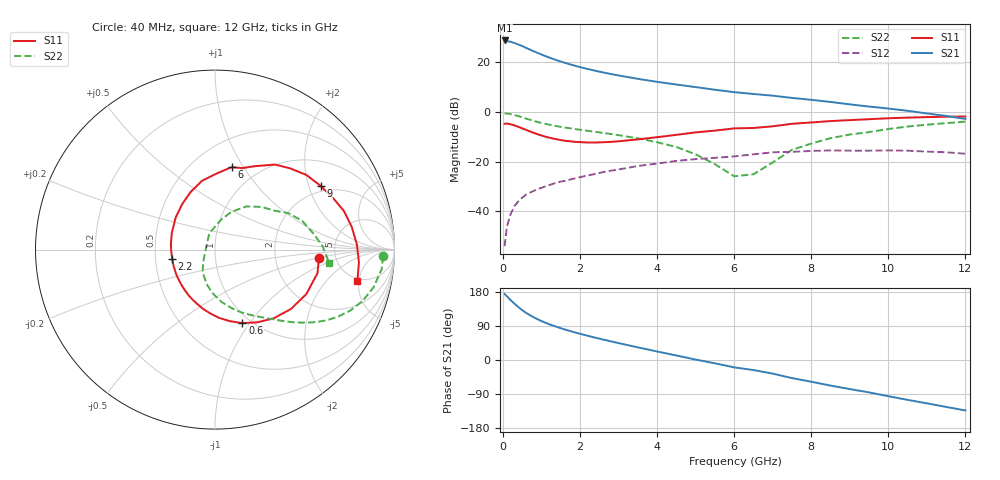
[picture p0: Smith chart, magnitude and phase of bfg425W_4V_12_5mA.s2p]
! Filename: 412bfg425.001
! BFG425W Field C1
! V1=8.355E-001V,V2=4.000E+000V, I1=1.439E-004A, I2=1.249E-002A
# GHz  S  MA  R 50
!  S11  S21  S12  S22
!Freq(GHz)  Mag  Ang  Mag  Ang  Mag  Ang  Mag  Ang
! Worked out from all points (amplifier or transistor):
!   44 points, 40 MHz to 12 GHz, reference 50 ohm
!   highest |S21| = 28.8 dB at 40 MHz (marker M1)
!   |S21| within 3 dB of that: start of sweep to 600.2 MHz
!   unconditionally stable (mu >= 1): start of sweep to 46.57 MHz; 1.688 GHz to end of sweep
!   at 700 MHz: K = 0.62, MSG = 28.8 dB, |S12| = -32.4 dB
!   at 2.4 GHz: K = 1.13, MAG = 18.6 dB, |S12| = -24.9 dB
!   at 12 GHz: K = 1.37, MAG = 3.3 dB, |S12| = -16.8 dB
!   S11 on the Smith chart (normalised r, x): 40 MHz: 3.70, -0.52; 600 MHz: 0.91, -0.92; 2.2 GHz: 0.61, -0.07; 6 GHz: 0.75, +0.89; 9 GHz: 1.80, +2.41; 12 GHz: 4.70, -4.76
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0.04  0.581 -4.6  27.57 174.1  0.002 44.3  0.937 -2.3
0.2  0.566 -26.0  25.85 157.6  0.009 70.7  0.908 -13.4
0.3  0.537 -38.0  24.39 148.2  0.013 68.1  0.87 -19.3
0.4  0.504 -49.4  22.8 139.4  0.016 65.1  0.826 -24.4
0.5  0.468 -60.1  21.17 131.1  0.019 61.8  0.78 -28.7
0.6  0.437 -69.6  19.52 124.2  0.022 59.7  0.737 -32.3
0.8  0.381 -86.6  16.66 112.4  0.026 56.2  0.662 -37.8
0.9  0.357 -94.1  15.43 107.3  0.028 54.9  0.631 -40.1
1  0.337 -101.3  14.33 102.6  0.03 53.9  0.604 -42.2
1.2  0.305 -114.4  12.48 94.4  0.034 52.2  0.557 -45.8
1.4  0.282 -126.4  11 87.2  0.038 50.9  0.519 -48.9
1.6  0.265 -138.0  9.808 80.7  0.041 49.7  0.489 -51.8
2.2  0.244 -168.1  7.341 63.9  0.053 45.4  0.419 -60.8
3  0.258 158.5  5.438 44.5  0.07 37.7  0.342 -73.6
3.5  0.282 141.2  4.658 33.3  0.082 31.9  0.296 -82.5
4.5  0.348 113.1  3.577 11.9  0.104 18.5  0.198 -103.7
6  0.469 78.6  2.514 -19.4  0.128 -5.2  0.051 167.6
6.5  0.478 71.8  2.308 -26.6  0.141 -7.9  0.056 143.9
8.5  0.658 39.1  1.596 -67.5  0.169 -44.7  0.298 53.9
9  0.688 30.9  1.427 -76.7  0.167 -53.1  0.353 42.3
10.5  0.772 9.5  1.059 -105.2  0.167 -80.4  0.511 18.4
12  0.812 -12.3  0.726 -133.1  0.145 -110.9  0.64 -6.5
